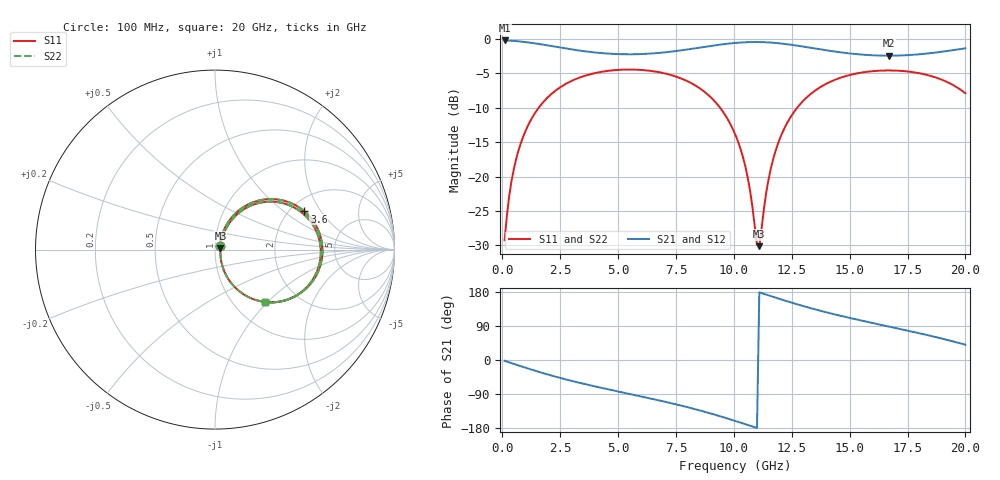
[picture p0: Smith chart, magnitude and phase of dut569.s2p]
! Touchstone file exported from HFSS 2026.1.0
!  File:  C:/ffzhzh/LocalFiles/Ansys_Project_Files/temp_train_TSV_RDL_569_1783117460_46604.aedt
!  Generated:  06:38:35 AM Jul  4, 2026
!  Design:  TSV_RDL
!  Project:  temp_train_TSV_RDL_569_1783117460_46604
! Variables:
!  h_bsmrdl = 3.61um
!  h_ox = 20um
!  h_rdl = 5um
!  h_sub = 80um
!  h_tmrdl = 5.8um
!  h_tsv = 80um
!  h_via = 3um
!  l_bsmrdl = 600.99um
!  l_sub = 5484.81um
!  l_tmrdl = 796.04um
!  m_sub = 200um
!  pitch = 54.5um
!  r_tsv = 12.31um
!  s_tmrdl = 10um
!  w_bsmrdl = 11.02um
!  w_sub = 500um
!  w_tmrdl = 21.54um
!  x_tsv_center1 = 806.81um
!  x_tsv_center2 = 1418.82um
!  x_tsv_center3 = 2236.4um
!  x_tsv_center4 = 2848.41um
!  x_tsv_center5 = 3665.99um
!  x_tsv_center6 = 4278um
# GHz S MA R 50.000000
! Terminal data exported
! Port[1] = TM_RDL1_1_T1
! Port[2] = TM_RDL5_1_T1
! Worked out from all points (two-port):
!   200 points, 100 MHz to 20 GHz, reference 50 ohm
!   highest |S21| = -0.23 dB at 100 MHz (marker M1); lowest = -2.4 dB at 16.7 GHz (marker M2)
!   |S21| within 3 dB of the highest: start of sweep to end of sweep
!   lowest |S11| = -30.1 dB at 11.1 GHz (marker M3), VSWR 1.06, Z = 53.1 + j0.794 ohm
!   |S11| at or under -10 dB: start of sweep to 1.574 GHz; 9.406 GHz to 12.74 GHz (3.33 GHz wide, 30.1 % of centre)
!   |S22| runs from -30.0 to -4.5 dB; largest |S21 - S12| = 1.4e-14
!   S11 on the Smith chart (normalised r, x): 100 MHz: 1.05, +0.05; 3.6 GHz: 2.38, +1.43; 20 GHz: 1.38, -0.96
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0.1  0.0345 39.9  0.9741 -2.1  0.9741 -2.1  0.0345 39.9
! Gamma 0 0 0 0
! Port Impedance 50 0 50 0
0.3  0.07257 61.9  0.9708 -6.3  0.9708 -6.3  0.07257 61.9
0.5  0.1138 65.5  0.9661 -10.4  0.9661 -10.4  0.1138 65.5
1.1  0.233 60.5  0.9435 -22.3  0.9435 -22.3  0.233 60.5
2.1  0.3951 45.1  0.8886 -40.6  0.8886 -40.6  0.3951 45.1
3.5  0.5352 24.5  0.8154 -62.6  0.8154 -62.6  0.5352 24.5
3.6  0.5418 23.1  0.8113 -64.0  0.8113 -64.0  0.5418 23.1
5.2  0.5978 2.4  0.7738 -85.7  0.7738 -85.7  0.5978 2.4
6.8  0.5716 -17.9  0.7918 -107.0  0.7918 -107.0  0.5716 -17.9
8.8  0.4042 -46.3  0.8782 -137.6  0.8782 -137.6  0.4042 -46.2
10.1  0.1948 -64.9  0.9359 -161.5  0.9359 -161.5  0.1948 -64.8
10.6  0.09841 -65.7  0.947 -171.4  0.947 -171.4  0.09853 -65.4
11  0.03205 -22.3  0.949 -179.5  0.949 -179.5  0.03252 -21.9
11.1  0.03126 13.8  0.9485 178.5  0.9485 178.5  0.03176 13.6
11.5  0.09575 60.9  0.9426 170.5  0.9426 170.5  0.09593 60.6
11.9  0.1722 61.4  0.9309 162.6  0.9309 162.6  0.1723 61.2
12.5  0.2787 54.2  0.9051 151.2  0.9051 151.2  0.2787 54.1
13.4  0.4083 40.9  0.8574 135.5  0.8574 135.5  0.4083 40.8
15.1  0.5515 17.3  0.7809 109.7  0.7809 109.7  0.5515 17.2
16.7  0.5901 -2.8  0.7554 88.3  0.7554 88.3  0.59 -2.8
18.3  0.5497 -22.9  0.7814 66.6  0.7814 66.6  0.5496 -23.0
20  0.4028 -46.4  0.854 40.3  0.854 40.3  0.4027 -46.4
